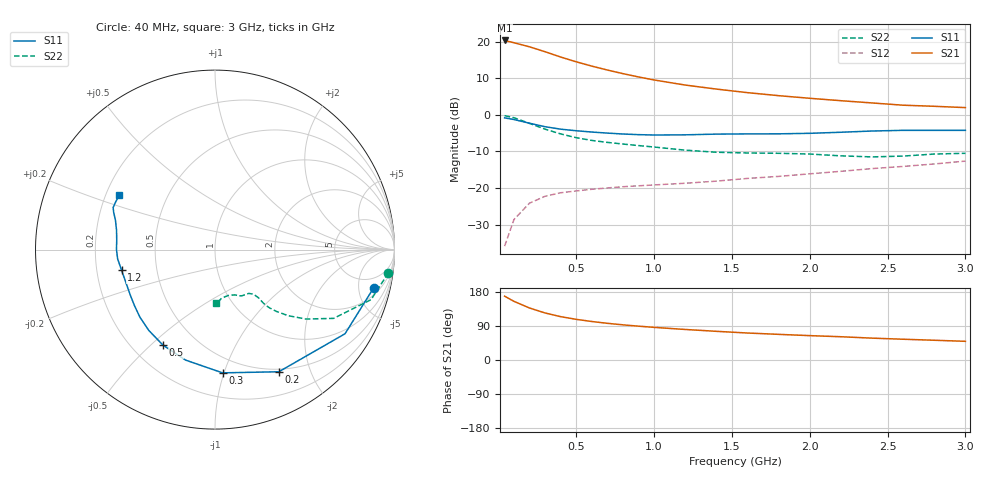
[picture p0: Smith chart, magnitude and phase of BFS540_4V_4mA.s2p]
! Filename:  BFS540A.S2P  Version:  4.0
! Philips part #: BFS540  Date: Jun 1994
! Bias condition: Vce=4V, Ic=4mA
#  MHz  S  MA  R  50
! Freq  S11  S21  S12  S22  !GUM [dB]
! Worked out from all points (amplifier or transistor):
!   21 points, 40 MHz to 3 GHz, reference 50 ohm
!   highest |S21| = 20.3 dB at 40 MHz (marker M1)
!   |S21| within 3 dB of that: start of sweep to 293.8 MHz
!   unconditionally stable (mu >= 1): 1.11 GHz to end of sweep
!   at 300 MHz: K = 0.36, MSG = 19.8 dB, |S12| = -22.3 dB
!   at 1 GHz: K = 0.93, MSG = 14.4 dB, |S12| = -19.2 dB
!   at 3 GHz: K = 1.02, MAG = 6.4 dB, |S12| = -12.7 dB
!   S11 on the Smith chart (normalised r, x): 40 MHz: 2.93, -7.21; 200 MHz: 0.47, -1.55; 300 MHz: 0.38, -0.99; 500 MHz: 0.32, -0.55; 1.2 GHz: 0.31, -0.10; 3 GHz: 0.25, +0.25
40  0.909 -13.6  10.41 168.4  0.016 81.7  0.975 -7.6
100  0.863 -32.9  9.687 154.8  0.037 70.2  0.913 -17.8
200  0.768 -62.4  8.519 137.2  0.062 56.4  0.764 -30.1
300  0.688 -86.5  7.296 124.1  0.077 48.5  0.637 -37.4
400  0.637 -104.9  6.175 114.4  0.086 44.4  0.549 -42.1
500  0.606 -118.6  5.313 107.3  0.091 42.3  0.487 -45.1
600  0.582 -129.4  4.64 101.6  0.096 41.8  0.447 -46.8
700  0.563 -137.9  4.102 96.8  0.1 42.1  0.42 -47.7
800  0.547 -145.0  3.66 92.8  0.104 43.1  0.399 -47.9
900  0.536 -151.5  3.3 89.3  0.107 44.2  0.38 -47.9
1000  0.53 -157.5  2.999 86.1  0.11 45.7  0.363 -47.9
1200  0.533 -167.5  2.555 80.6  0.116 49.2  0.329 -49.1
1400  0.545 -174.6  2.251 75.7  0.124 53.0  0.308 -52.4
1600  0.549 179.9  2.012 71.2  0.135 55.9  0.301 -56.9
1800  0.55 174.6  1.83 67.7  0.144 59.3  0.298 -59.8
2000  0.559 168.9  1.684 64.3  0.156 62.4  0.291 -62.2
2200  0.578 163.6  1.561 61.4  0.169 65.3  0.275 -66.5
2400  0.601 159.9  1.455 57.7  0.184 67.4  0.266 -74.0
2600  0.614 157.6  1.355 54.8  0.197 68.4  0.273 -82.1
2800  0.614 154.7  1.309 52.1  0.213 70.0  0.291 -86.6
3000  0.614 150.3  1.256 49.3  0.233 70.9  0.298 -89.3
